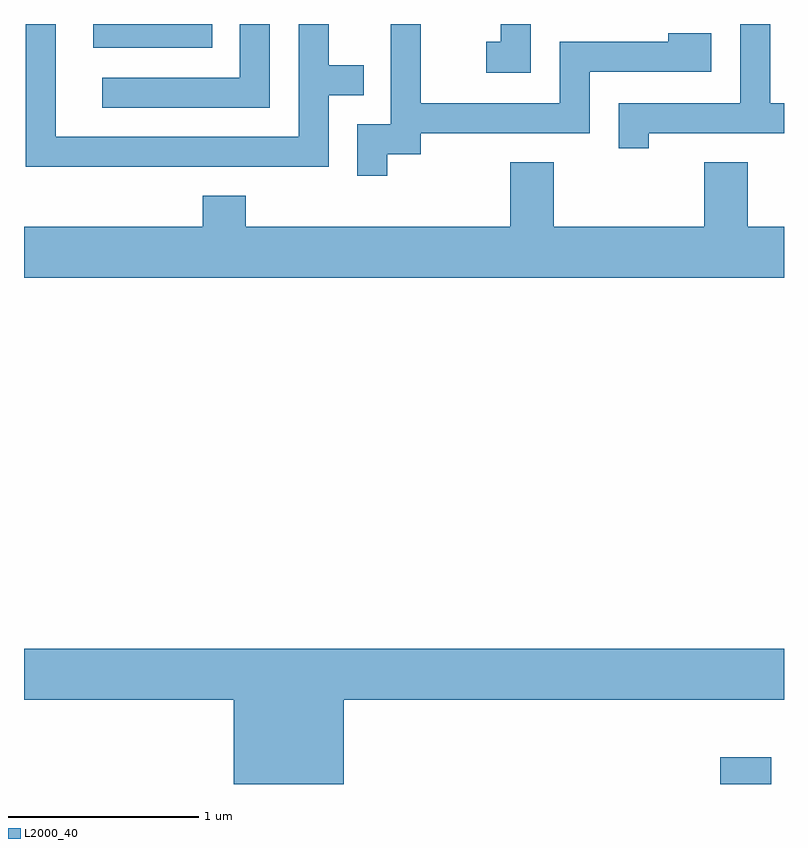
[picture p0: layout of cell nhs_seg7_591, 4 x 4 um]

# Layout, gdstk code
import gdstk
lib = gdstk.Library(unit=1e-6, precision=1e-09)
def R(c, l, rs):  # rectangles x0, y0, x1, y1
    for r in rs: c.add(gdstk.rectangle(r[:2], r[2:], *l))
def P(c, l, *ps):  # polygons
    for p in ps: c.add(gdstk.Polygon(p, *l))
L2000_40 = (2000, 40)

nhs_seg7_591 = lib.new_cell('nhs_seg7_591')
R(nhs_seg7_591, L2000_40, [(205.276,1778.252,205.544,1778.394), (201.976,1782.126,202.603,1782.252)])
P(nhs_seg7_591, L2000_40, [(203.214,1781.876),(203.398,1781.876),(203.398,1782.034),(203.214,1782.034),(203.214,1782.252),(203.056,1782.252),(203.056,1781.659),(201.779,1781.659),(201.779,1782.252),(201.621,1782.252),(201.621,1781.501),(203.214,1781.501)],
  [(202.904,1782.252),(202.746,1782.252),(202.746,1781.969),(202.023,1781.969),(202.023,1781.811),(202.904,1781.811)],
  [(203.524,1781.566),(203.699,1781.566),(203.699,1781.676),(204.589,1781.676),(204.589,1782.001),(205.229,1782.001),(205.229,1782.204),(205.001,1782.204),(205.001,1782.159),(204.431,1782.159),(204.431,1781.834),(203.699,1781.834),(203.699,1782.252),(203.541,1782.252),(203.541,1781.724),(203.366,1781.724),(203.366,1781.453),(203.524,1781.453)],
  [(204.279,1782.252),(204.121,1782.252),(204.121,1782.159),(204.043,1782.159),(204.043,1781.996),(204.279,1781.996)],
  [(204.899,1781.676),(205.611,1781.676),(205.611,1781.834),(205.539,1781.834),(205.539,1782.252),(205.381,1782.252),(205.381,1781.834),(204.741,1781.834),(204.741,1781.598),(204.899,1781.598)],
  [(205.611,1781.184),(205.419,1781.184),(205.419,1781.524),(205.191,1781.524),(205.191,1781.184),(204.399,1781.184),(204.399,1781.524),(204.171,1781.524),(204.171,1781.184),(202.779,1781.184),(202.779,1781.349),(202.551,1781.349),(202.551,1781.184),(201.611,1781.184),(201.611,1780.916),(205.611,1780.916)],
  [(203.294,1778.696),(205.611,1778.696),(205.611,1778.964),(201.611,1778.964),(201.611,1778.696),(202.716,1778.696),(202.716,1778.252),(203.294,1778.252)])

lib.write_gds('nhs_seg7_591.gds')
